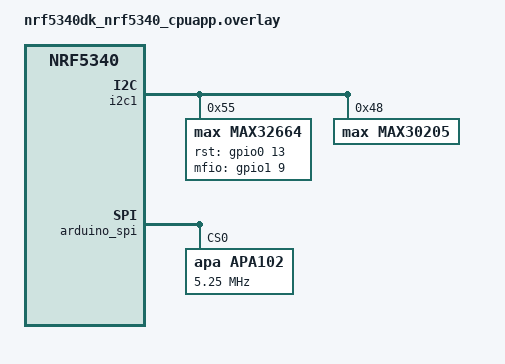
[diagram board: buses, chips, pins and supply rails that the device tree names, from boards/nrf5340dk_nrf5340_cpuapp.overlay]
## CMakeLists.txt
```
# list(APPEND ZEPHYR_EXTRA_MODULES
#  ${CMAKE_CURRENT_SOURCE_DIR}/max30102
# )

list(APPEND ZEPHYR_EXTRA_MODULES
  ${CMAKE_CURRENT_SOURCE_DIR}/max32664
  ${CMAKE_CURRENT_SOURCE_DIR}/max30205
)


cmake_minimum_required(VERSION 3.8.2)

find_package(Zephyr REQUIRED HINTS $ENV{ZEPHYR_BASE})
project(NONE)

target_sources(app PRIVATE 
  src/main.c
  src/sphr.c
)
```

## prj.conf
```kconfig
CONFIG_BT=y
CONFIG_BT_DEBUG_LOG=y
CONFIG_BT_SMP=y
CONFIG_BT_PERIPHERAL=y
CONFIG_BT_DIS=y
CONFIG_BT_DIS_PNP=n
CONFIG_BT_BAS=y
CONFIG_BT_HRS=y
CONFIG_BT_DEVICE_NAME="Baby Monitor"
CONFIG_BT_DEVICE_APPEARANCE=833


# logging using segger RTT viewer
# CONFIG_USE_SEGGER_RTT=y
# CONFIG_RTT_CONSOLE=y

# avoid conflict with uart console
CONFIG_UART_CONSOLE=y



CONFIG_STDOUT_CONSOLE=y
CONFIG_LOG=y
CONFIG_I2C=y
CONFIG_SENSOR=y
CONFIG_SENSOR_LOG_LEVEL_DBG=y
CONFIG_MAX32664=y
CONFIG_MAX30205=y

CONFIG_LED_STRIP=y
CONFIG_SPI=y
CONFIG_APA102_STRIP=y
CONFIG_POLL=y
```

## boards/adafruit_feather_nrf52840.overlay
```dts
&i2c0 {
    status = "okay";
	sda-gpios = <&gpio0 12 0>;
	scl-gpios = <&gpio0 11 0>;
    max32664@55{
        status = "okay";
        compatible = "max,max32664";
        reg = < 0x55 >;
        label = "MAX32664";
        rst-gpios = <&gpio0 7 GPIO_ACTIVE_HIGH>;
        mfio-gpios = <&gpio1 8 GPIO_PULL_UP>;
    };
};
```

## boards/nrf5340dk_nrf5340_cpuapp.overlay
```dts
&i2c1 {
	status = "okay";
    max32664@55{
        status = "okay";
        compatible = "max,max32664";
        reg = < 0x55 >;
        label = "MAX32664";
        rst-gpios = <&gpio0 13 GPIO_ACTIVE_HIGH>;
        mfio-gpios = <&gpio1 9 GPIO_PULL_UP>;
    };

    max30205@48{
        status = "okay";
        compatible = "max,max30205";
        reg = < 0x48 >;
        label = "MAX30205";
    };
};

&arduino_spi {
    status = "okay";
	apa102@0 {
		compatible = "apa,apa102";
		reg = <0>;
		spi-max-frequency = <5250000>;
		label = "APA102";
	};
};
```

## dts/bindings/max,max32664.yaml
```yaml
# Copyright (c) 2019 Nordic Semiconductor ASA
# SPDX-License-Identifier: Apache-2.0

description: |
    max32664

compatible: "max,max32664"

include: base.yaml

properties:
  rst-gpios:
    type: phandle-array
    required: true
    description: |
      Pin on which sensor communication will be performed.

      Control and data are encoded by the duration of active low
      signals.  A pull up may be appropriate.
  mfio-gpios:
    type: phandle-array
    required: true
    description: |
      Multifunction pin
```

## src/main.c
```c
/* main.c - Application main entry point */

/*
 * Copyright (c) 2015-2016 Intel Corporation
 *
 * SPDX-License-Identifier: Apache-2.0
 */

#include <zephyr/types.h>
#include <stddef.h>
#include <string.h>
#include <errno.h>
#include <sys/printk.h>
#include <sys/byteorder.h>
#include <zephyr.h>

#include <drivers/sensor.h>
#include <stdio.h>
#include "max32664.h"

#include <bluetooth/bluetooth.h>
#include <bluetooth/hci.h>
#include <bluetooth/conn.h>
#include <bluetooth/uuid.h>
#include <bluetooth/gatt.h>
#include <bluetooth/services/bas.h>
#include <bluetooth/services/hrs.h>

#include <drivers/led_strip.h>
#include <device.h>
#include <drivers/spi.h>
#include <sys/util.h>

#include "sphr.h"

/* size of stack area used by each thread */
#define STACKSIZE 1024

/* scheduling priority used by each thread */
#define PRIORITY 7

/* delay between greetings (in ms) */
#define SLEEPTIME 500
#define STRIP_NUM_LEDS 1

#define DELAY_TIME K_MSEC(40)

#define COLOR_RED 0
#define COLOR_GREEN 1
#define COLOR_BLUE 2
#define COLOR_BLACK 3
#define COLOR_WHITE 4
#define COLOR_ORANGE 4

uint8_t sphr_data[8];

static const struct led_rgb colors[] = {
	{ .r = 0xff, .g = 0x00, .b = 0x00, }, /* red */
	{ .r = 0x00, .g = 0xff, .b = 0x00, }, /* green */
	{ .r = 0x00, .g = 0x00, .b = 0xff, }, /* blue */
	{ .r = 0x00, .g = 0x00, .b = 0x00, }, /* black */
	{ .r = 0xff, .g = 0xff, .b = 0xff, }, /* white */
	{ .r = 165, .g = 165, .b = 0, }, /* orange */
};

static const struct led_rgb black = {
	.r = 0x00,
	.g = 0x00,
	.b = 0x00,
};

struct led_rgb strip_color;

const struct led_rgb *color_at(size_t time, size_t i)
{
	size_t rgb_start = time % STRIP_NUM_LEDS;

	if (rgb_start <= i && i < rgb_start + ARRAY_SIZE(colors)) {
		return &colors[i - rgb_start];
	} else {
		return &black;
	}
}

K_FIFO_DEFINE(my_fifo);



struct data_item_t {
    void *fifo_reserved;   /* 1st word reserved for use by FIFO */
    int hr;
	int spo2;
	int confidence;
	int status;
};

struct data_item_t tx_data;


static const struct bt_data ad[] = {
	BT_DATA_BYTES(BT_DATA_FLAGS, (BT_LE_AD_GENERAL | BT_LE_AD_NO_BREDR)),
	BT_DATA_BYTES(BT_DATA_UUID16_ALL,
		      BT_UUID_16_ENCODE(BT_UUID_HRS_VAL),
		      BT_UUID_16_ENCODE(BT_UUID_BAS_VAL),
		      BT_UUID_16_ENCODE(BT_UUID_DIS_VAL))
};

static void connected(struct bt_conn *conn, uint8_t err)
{
	if (err) {
		printk("Connection failed (err 0x%02x)\n", err);
	} else {
		printk("Connected\n");
	}
}

static void disconnected(struct bt_conn *conn, uint8_t reason)
{
	printk("Disconnected (reason 0x%02x)\n", reason);
}

static struct bt_conn_cb conn_callbacks = {
	.connected = connected,
	.disconnected = disconnected,
};

static void bt_ready(void)
{
	int err;

	printk("Bluetooth initialized\n");

	err = bt_le_adv_start(BT_LE_ADV_CONN_NAME, ad, ARRAY_SIZE(ad), NULL, 0);
	if (err) {
		printk("Advertising failed to start (err %d)\n", err);
		return;
	}

	printk("Advertising successfully started\n");
}

static void auth_cancel(struct bt_conn *conn)
{
	char addr[BT_ADDR_LE_STR_LEN];

	bt_addr_le_to_str(bt_conn_get_dst(conn), addr, sizeof(addr));

	printk("Pairing cancelled: %s\n", addr);
}

static struct bt_conn_auth_cb auth_cb_display = {
	.cancel = auth_cancel,
};

static void bas_notify(void)
{
	uint8_t battery_level = bt_bas_get_battery_level();

	battery_level--;

	if (!battery_level) {
		battery_level = 100U;
	}

	bt_bas_set_battery_level(battery_level);
}

static void hrs_notify(void)
{
	static uint8_t heartrate = 90U;

	/* Heartrate measurements simulation */
	heartrate++;
	if (heartrate == 160U) {
		heartrate = 90U;
	}
	//printk("mesaured heart rate=%d\n", heartrate);
	bt_hrs_notify(heartrate);
}

K_THREAD_STACK_DEFINE(threadA_stack_area, STACKSIZE);
static struct k_thread threadA_data;


void threadA(void *dummy1, void *dummy2, void *dummy3)
{
	ARG_UNUSED(dummy1);
	ARG_UNUSED(dummy2);
	ARG_UNUSED(dummy3);

	int err;
	struct sensor_value hr;
	struct sensor_value spo2;
	struct sensor_value status;
	struct sensor_value confidence;
	struct sensor_value temp;
	float tempf = 0;
	uint8_t tempBytes[4];
	//struct sensor_value red;
	//struct sensor_value IR;
	const struct device *dev = device_get_binding(DT_LABEL(DT_INST(0, max_max32664)));

	if (dev == NULL) {
		printf("Could not get max32664 device\n");
		return;
	}

	const struct device *devTemp = device_get_binding(DT_LABEL(DT_INST(0, max_max30205)));

	if (devTemp == NULL) {
		printf("Could not get max30205 device\n");
		return;
	}

	err = bt_enable(NULL);
	if (err) {
		printk("Bluetooth init failed (err %d)\n", err);
		return;
	}





	bt_ready();

	bt_conn_cb_register(&conn_callbacks);
	bt_conn_auth_cb_register(&auth_cb_display);

	/* Implement notification. At the moment there is no suitable way
	 * of starting delayed work so we do it here
	 */

	while (1) {
		k_sleep(K_SECONDS(1));



		sensor_sample_fetch(dev);
		sensor_channel_get(dev, SENSOR_CHAN_HEARTRATE, &hr);
		sensor_channel_get(dev, SENSOR_CHAN_SPO2, &spo2);
		sensor_channel_get(dev, SENSOR_CHAN_HR_STATUS, &status);
		sensor_channel_get(dev, SENSOR_CHAN_CONFIDENCE, &confidence);

		sensor_sample_fetch(devTemp);
		sensor_channel_get(devTemp, SENSOR_CHAN_AMBIENT_TEMP, &temp);
		//sensor_channel_get(dev, SENSOR_CHAN_IR, &IR);
		/* Print green LED data*/
		//printf("red=%d\n", red.val1);
		//printf("IR=%d\n", IR.val1);
		printk("hr=%d\n",hr.val1);
		printk("spo2=%d\n",spo2.val1);
		printk("status=%d\n",status.val1);
		printk("confidence=%d\n",confidence.val1);

		printk("temp1=%d\n",temp.val1);
		printk("temp2=%d\n",temp.val2);

		tempf = sensor_value_to_double(&temp);
		/* Heartrate measurements simulation */
		hrs_notify();
		tx_data.hr = hr.val1;
		tx_data.spo2 = spo2.val1;
		tx_data.status = status.val1;
		tx_data.confidence = confidence.val1;

		k_fifo_put(&my_fifo, &tx_data);
		/* Battery level simulation */
		bas_notify();

		sphr_data[0] = (uint8_t)hr.val1;
		sphr_data[1] = (uint8_t)spo2.val1;
		sphr_data[2] = (uint8_t)status.val1;
		sphr_data[3] = (uint8_t)confidence.val1;

		memcpy(sphr_data + 4, &tempf,sizeof(float));
		
		sphr_notify(sphr_data,8);
	}

}

K_THREAD_STACK_DEFINE(threadB_stack_area, STACKSIZE);
static struct k_thread threadB_data;


void threadB(void *dummy1, void *dummy2, void *dummy3)
{
	ARG_UNUSED(dummy1);
	ARG_UNUSED(dummy2);
	ARG_UNUSED(dummy3);

	struct data_item_t  *rx_data;

	struct data_item_t  *cur_data;

	int minimum_sleep = 100;
	
	int sleep_time = 1000;

	double sleep_timed = 1000;

	const struct device *strip;
	size_t i, time;

	strip = device_get_binding(DT_LABEL(DT_INST(0, apa_apa102)));
	if (strip) {
		printk("Found LED strip device %s", DT_LABEL(DT_INST(0, apa_apa102)));
	} else {
		printk("LED strip device %s not found", DT_LABEL(DT_INST(0, apa_apa102)));
		return;
	}
	
	int cnt = 0;
	while(1) {

		cur_data = k_fifo_get(&my_fifo, K_NO_WAIT);

		if (cur_data)
		{
			rx_data = cur_data;

			if (rx_data->status == 3)
			{
				// get valid hr data, update sleep time
   			    sleep_timed = 1000.0f * 60.0f / (float)rx_data->hr;
				
				sleep_time = (int)sleep_timed;

				if (sleep_time < 200) sleep_time = 200;

				if (sleep_time > 2000) sleep_time = 2000;

				printk("sleep time=%d\n", sleep_time);
			}

		}

		if (rx_data)
		{
			if (rx_data->status == 0)
			{
				strip_color = colors[COLOR_RED];
				led_strip_update_rgb(strip, &strip_color, STRIP_NUM_LEDS);
				k_sleep(K_MSEC(50));
				strip_color = colors[COLOR_BLACK];
				led_strip_update_rgb(strip, &strip_color, STRIP_NUM_LEDS);
				k_sleep(K_MSEC(2000));
			}
			else if (rx_data->status == 1 || rx_data->status == 2)
			{
				strip_color = colors[COLOR_ORANGE];
				led_strip_update_rgb(strip, &strip_color, STRIP_NUM_LEDS);
				k_sleep(K_MSEC(50));
				strip_color = colors[COLOR_BLACK];
				led_strip_update_rgb(strip, &strip_color, STRIP_NUM_LEDS);
				k_sleep(K_MSEC(1000));
			}
			else
			{
				strip_color = colors[COLOR_GREEN];
				led_strip_update_rgb(strip, &strip_color, STRIP_NUM_LEDS);
				k_sleep(K_MSEC(50));
				strip_color = colors[COLOR_BLACK];
				led_strip_update_rgb(strip, &strip_color, STRIP_NUM_LEDS);
				k_sleep(K_MSEC(sleep_time));
			}
			
		}

		k_sleep(K_MSEC(1));
		
	}

}

void main(void)
{


	k_thread_create(&threadA_data, threadA_stack_area,
			K_THREAD_STACK_SIZEOF(threadA_stack_area),
			threadA, NULL, NULL, NULL,
			PRIORITY, 0, K_FOREVER);
	k_thread_name_set(&threadA_data, "thread_a");

	k_thread_start(&threadA_data);


	k_thread_create(&threadB_data, threadB_stack_area,
			K_THREAD_STACK_SIZEOF(threadB_stack_area),
			threadB, NULL, NULL, NULL,
			PRIORITY, 0, K_FOREVER);
	k_thread_name_set(&threadB_data, "thread_b");

	k_thread_start(&threadB_data);
}
```

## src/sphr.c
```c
/** @file
 *  @brief custom service
 */

/*
 * Copyright (c) 2016 Intel Corporation
 *
 * SPDX-License-Identifier: Apache-2.0
 */

#include <zephyr/types.h>
#include <stddef.h>
#include <string.h>
#include <errno.h>
#include <sys/printk.h>
#include <sys/byteorder.h>
#include <zephyr.h>

#include <bluetooth/bluetooth.h>
#include <bluetooth/hci.h>
#include <bluetooth/conn.h>
#include <bluetooth/uuid.h>
#include <bluetooth/gatt.h>

static uint8_t sphr[4];
static uint8_t sphr_update;

static void sphr_ccc_cfg_changed(const struct bt_gatt_attr *attr, uint16_t value)
{
	/* TODO: Handle value */
}

static ssize_t read_sphr(struct bt_conn *conn, const struct bt_gatt_attr *attr,
		       void *buf, uint16_t len, uint16_t offset)
{
	const char *value = attr->user_data;

	return bt_gatt_attr_read(conn, attr, buf, len, offset, value,
				 sizeof(sphr));
}

static ssize_t write_sphr(struct bt_conn *conn, const struct bt_gatt_attr *attr,
			const void *buf, uint16_t len, uint16_t offset,
			uint8_t flags)
{
	uint8_t *value = attr->user_data;

	if (offset + len > sizeof(sphr)) {
		return BT_GATT_ERR(BT_ATT_ERR_INVALID_OFFSET);
	}

	memcpy(value + offset, buf, len);
	sphr_update = 1U;

	return len;
}

/* Custom Service Variables */
static struct bt_uuid_128 vnd_uuid = BT_UUID_INIT_128(
	0xf0, 0xde, 0xbc, 0x9a, 0x78, 0x56, 0x34, 0x12,
	0x78, 0x56, 0x34, 0x12, 0x78, 0x56, 0x34, 0x12);

static struct bt_uuid_128 vnd_cus_uuid = BT_UUID_INIT_128(
	0xf1, 0xde, 0xbc, 0x9a, 0x78, 0x56, 0x34, 0x12,
	0x78, 0x56, 0x34, 0x12, 0x78, 0x56, 0x34, 0x12);

BT_GATT_SERVICE_DEFINE(vnd_svc,
	BT_GATT_PRIMARY_SERVICE(&vnd_uuid),
	BT_GATT_CHARACTERISTIC(&vnd_cus_uuid.uuid,
			       BT_GATT_CHRC_READ |
			       BT_GATT_CHRC_NOTIFY | BT_GATT_CHRC_WRITE,
			       BT_GATT_PERM_READ | BT_GATT_PERM_WRITE,
			       read_sphr, write_sphr, sphr),
	BT_GATT_CCC(sphr_ccc_cfg_changed, BT_GATT_PERM_READ | BT_GATT_PERM_WRITE),
);


// /* Current Time Service Declaration */
// BT_GATT_SERVICE_DEFINE(sphr_svc,
// 	BT_GATT_PRIMARY_SERVICE(BT_UUID_CTS),
// 	BT_GATT_CHARACTERISTIC(BT_UUID_CTS_CURRENT_TIME, BT_GATT_CHRC_READ |
// 			       BT_GATT_CHRC_NOTIFY | BT_GATT_CHRC_WRITE,
// 			       BT_GATT_PERM_READ | BT_GATT_PERM_WRITE,
// 			       read_sphr, write_sphr, sphr),
// 	BT_GATT_CCC(sphr_ccc_cfg_changed, BT_GATT_PERM_READ | BT_GATT_PERM_WRITE),
// );

void sphr_init(void)
{
}

void sphr_notify(uint8_t* sphr_data, size_t data_size)
{	/* Current Time Service updates only when time is changed */

	bt_gatt_notify(NULL, &vnd_svc.attrs[1], sphr_data, data_size);
}
```

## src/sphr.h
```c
/** @file
 *  @brief CTS Service sample
 */

/*
 * Copyright (c) 2016 Intel Corporation
 *
 * SPDX-License-Identifier: Apache-2.0
 */

#ifndef _SPHR_H
#define _SPHR_H

#ifdef __cplusplus
extern "C" {
#endif

void sphr_notify(uint8_t* sphr_data, size_t data_size);

#ifdef __cplusplus
}
#endif


#endif
```
